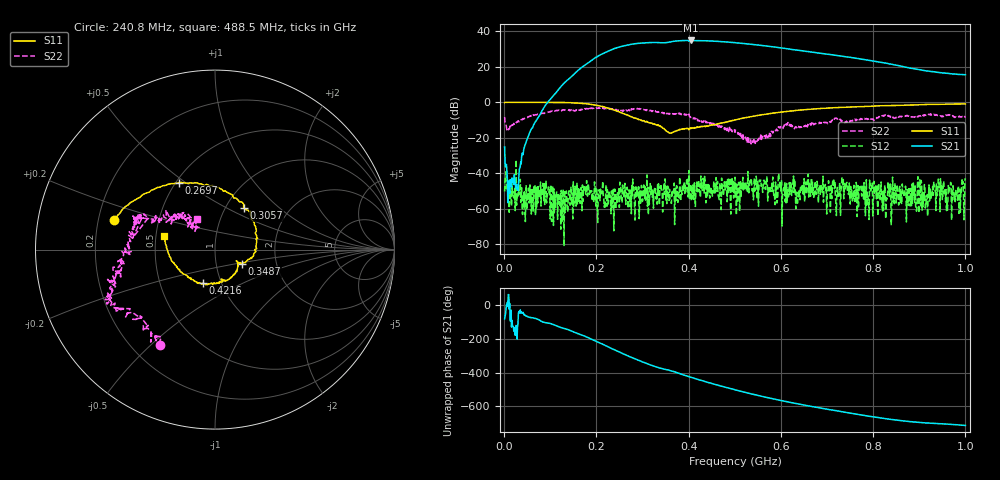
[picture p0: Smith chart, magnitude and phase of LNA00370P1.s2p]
! Created with skrf 1.9.0 (http://scikit-rf.org).
# Hz S RI R 50.0
!freq ReS11 ImS11 ReS21 ImS21 ReS12 ImS12 ReS22 ImS22
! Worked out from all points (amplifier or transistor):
!   1001 points, 1 MHz to 1 GHz, reference 50 ohm
!   highest |S21| = 34.8 dB at 404.6 MHz (marker M1)
!   |S21| within 3 dB of that: 260.2 MHz to 563.4 MHz (303.2 MHz wide, 73.6 % of centre)
!   unconditionally stable (mu >= 1): 221 MHz to 278.7 MHz; 309.8 MHz to 400.5 MHz; 400.6 MHz to end of sweep (the widest 3 of 41)
!   at 166.8 MHz: K = 0.62, MSG = 33.7 dB, |S12| = -48.0 dB
!   at 500.5 MHz: K = 1.35, MAG = 34.3 dB, |S12| = -42.2 dB
!   at 1 GHz: K = 1.89, MAG = 23.7 dB, |S12| = -42.8 dB
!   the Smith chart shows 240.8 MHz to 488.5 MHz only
!   S11 on the Smith chart (normalised r, x): 240.8 MHz: 0.26, +0.13; 269.7 MHz: 0.52, +0.47; 305.7 MHz: 1.21, +0.61; 348.7 MHz: 1.34, -0.22; 421.6 MHz: 0.82, -0.32; 488.5 MHz: 0.55, +0.09
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1000000  0.9782 0.00111  0.00777 -0.0549  -0.0028 -0.00126  0.2813 0.2641
1.08892e8  0.5005 -0.8605  -0.7896 -1.452  -0.000792 9.7e-05  0.4153 -0.3756
1.67833e8  -0.2723 -0.8905  -9.514 -0.5129  0.00252 0.00197  0.0508 -0.6273
2.08792e8  -0.6918 -0.3649  -15.04 15.61  -0.00222 -0.00281  -0.1876 -0.6536
2.4076e8  -0.5641 0.167  -1.742 33.11  0.00145 0.00174  -0.3064 -0.5299
2.69731e8  -0.1996 0.3731  22.4 34.56  0.00023 0.00238  -0.4889 -0.3526
3.05695e8  0.1604 0.2315  44.91 13.54  -0.00234 -0.00347  -0.5718 -0.2296
3.34666e8  0.2279 -0.0105  46.97 -9.37  -0.00404 0.00309  -0.5214 -0.0532
3.48652e8  0.1513 -0.0794  44.22 -17.08  0.000146 0.00696  -0.4964 -0.0181
3.72628e8  0.129 -0.0896  41.32 -33.15  0.000307 0.00169  -0.4507 0.1434
4.04596e8  0.0263 -0.1858  20.4 -50.98  0.00227 0.00443  -0.3393 0.1565
4.21579e8  -0.0659 -0.1865  7.363 -53.63  0.00592 0.00261  -0.2728 0.1519
4.51549e8  -0.197 -0.1105  -14.76 -50.5  0.0021 -0.000842  -0.1678 0.1944
4.88512e8  -0.282 0.0734  -34.05 -35.21  0.00177 0.00464  -0.0982 0.1695
5.005e8  -0.2845 0.1472  -37.96 -28.86  0.00762 0.00169  -0.11 0.0908
5.38462e8  -0.2022 0.3446  -41.66 -8.477  0.00314 -0.000531  -0.0793 0.00991
5.83417e8  -0.00149 0.4966  -34.59 10.43  0.00398 -0.00534  -0.1271 -0.0813
6.25375e8  0.2013 0.5381  -23.31 19.6  4.18e-05 -0.00428  -0.18 -0.1105
6.67333e8  0.4062 0.4952  -12.07 22.62  -0.000706 -0.00281  -0.2285 -0.037
7.53247e8  0.6842 0.2826  3.886 17.67  0.00126 -0.00318  -0.2992 0.0321
8.34166e8  0.8006 0.0159  8.773 8.367  -0.0045 -0.00192  -0.3998 0.0727
1e9  0.7295 -0.5284  5.931 0.6133  -0.007 0.00192  -0.1727 0.3283
